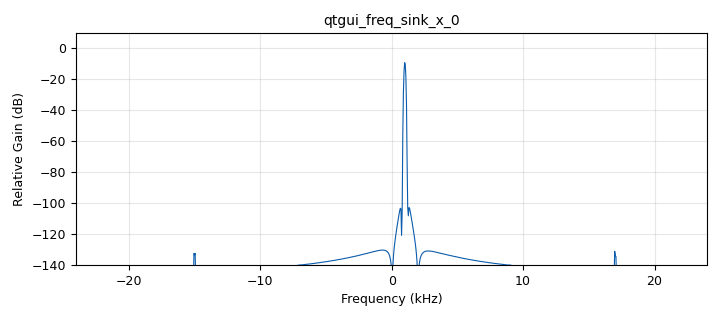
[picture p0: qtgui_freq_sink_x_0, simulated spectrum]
options:
  parameters:
    generate_options: qt_gui
    id: radioberry_tx
    output_language: python
    title: Not titled yet
  states: {}

blocks:
- name: samp_rate
  id: variable
  parameters:
    value: '48000'
  states: {}
- name: analog_sig_source_x_0
  id: analog_sig_source_x
  parameters:
    amp: '1'
    freq: '1000'
    offset: '0'
    phase: '0'
    samp_rate: samp_rate
    type: complex
    waveform: analog.GR_COS_WAVE
  states: {}
- name: qtgui_freq_sink_x_0
  id: qtgui_freq_sink_x
  parameters:
    bw: samp_rate
    fc: '0'
    fftsize: '1024'
    type: complex
    wintype: firdes.WIN_BLACKMAN_hARRIS
  states: {}
- name: soapy_sink_0
  id: soapy_sink
  parameters:
    amp_gain0: '0'
    center_freq0: 7.070e6
    dev: driver=radioberry
    devname: custom
    iamp_gain0: '0'
    pad_gain0: '0'
    pga_gain0: '24'
    samp_rate: samp_rate
    txvga1_gain: '-35'
    txvga2_gain: '0'
    type: fc32
    vga_gain0: '10'
  states: {}

connections:
- [analog_sig_source_x_0, '0', qtgui_freq_sink_x_0, '0']
- [analog_sig_source_x_0, '0', soapy_sink_0, '0']

metadata:
  file_format: 1
